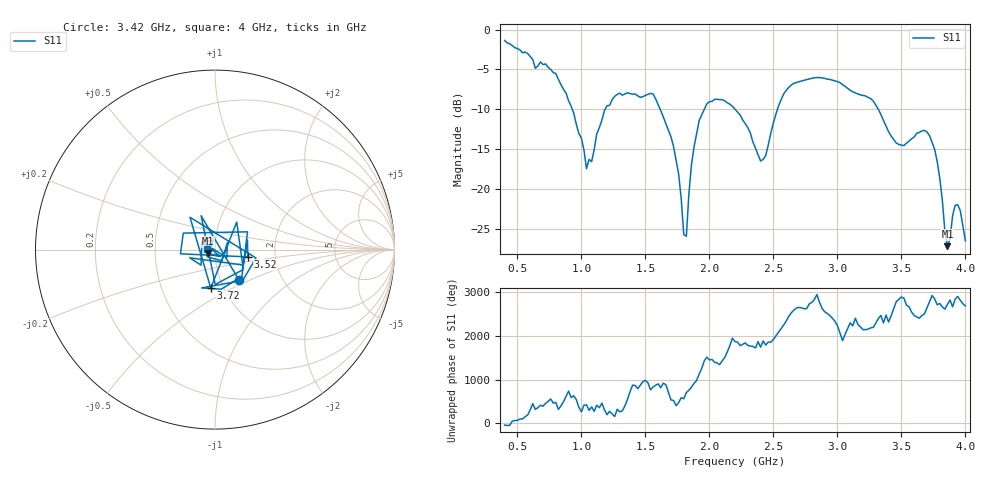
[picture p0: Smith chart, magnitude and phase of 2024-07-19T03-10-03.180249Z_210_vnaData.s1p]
!Created with skrf (http://scikit-rf.org).
# Hz S RI R 50.0
!freq ReS11 ImS11
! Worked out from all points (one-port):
!   181 points, 400 MHz to 4 GHz, reference 50 ohm
!   lowest |S11| = -27.2 dB at 3.86 GHz (marker M1), VSWR 1.09, Z = 46.3 - j1.94 ohm
!   |S11| at or under -10 dB: 1.615 GHz to 1.96 GHz (345.2 MHz wide, 19.3 % of centre); 2.2 GHz to 2.532 GHz (332 MHz wide, 14 % of centre); 3.32 GHz to end of sweep (the widest 3 of 4)
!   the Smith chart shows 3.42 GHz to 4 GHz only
!   S11 on the Smith chart (normalised r, x): 3.42 GHz: 1.22, -0.43; 3.52 GHz: 1.44, -0.12; 3.72 GHz: 0.87, -0.39; 4 GHz: 0.91, +0.01
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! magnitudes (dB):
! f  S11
! 400 MHz  -1.4
! 860 MHz  -7.5
! 1 GHz  -13.6
! 1.04 GHz  -17.5
! 1.18 GHz  -10.2
! 1.3 GHz  -8.0
! 1.56 GHz  -8.1
! 1.7 GHz  -13.5
! 1.76 GHz  -18.2
! 1.8 GHz  -25.7
! 1.82 GHz  -26.0
! 1.86 GHz  -17.0
! 1.92 GHz  -11.4
! 2.04 GHz  -8.8
! 2.2 GHz  -10.0
! 2.4 GHz  -16.5
! 2.56 GHz  -8.8
! 2.66 GHz  -6.7
! 3.1 GHz  -7.6
! 3.28 GHz  -9.0
! 3.42 GHz  -13.4
! 3.52 GHz  -14.6
! 3.56 GHz  -14.0
! 3.72 GHz  -13.3
! 3.78 GHz  -16.6
! 3.86 GHz  -27.2
! 3.92 GHz  -22.1
! 4 GHz  -26.5
